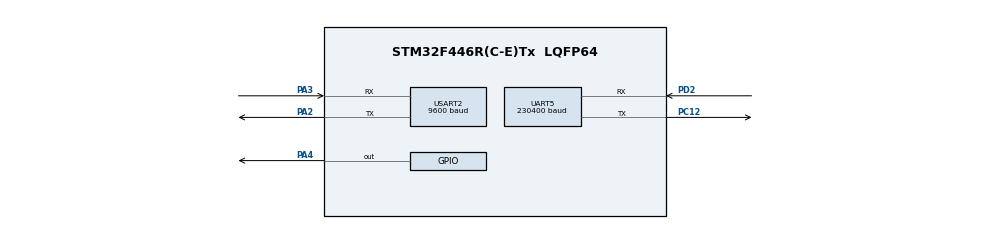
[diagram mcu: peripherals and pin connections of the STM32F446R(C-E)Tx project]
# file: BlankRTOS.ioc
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Dma.Request0=UART5_TX
Dma.Request1=UART5_RX
Dma.UART5_RX.1.Direction=DMA_PERIPH_TO_MEMORY
Dma.UART5_RX.1.FIFOMode=DMA_FIFOMODE_DISABLE
Dma.UART5_RX.1.Instance=DMA1_Stream0
Dma.UART5_RX.1.MemDataAlignment=DMA_MDATAALIGN_BYTE
Dma.UART5_RX.1.MemInc=DMA_MINC_ENABLE
Dma.UART5_RX.1.Mode=DMA_NORMAL
Dma.UART5_RX.1.PeriphDataAlignment=DMA_PDATAALIGN_BYTE
Dma.UART5_RX.1.PeriphInc=DMA_PINC_DISABLE
Dma.UART5_RX.1.Priority=DMA_PRIORITY_LOW
Dma.UART5_TX.0.Direction=DMA_MEMORY_TO_PERIPH
Dma.UART5_TX.0.FIFOMode=DMA_FIFOMODE_DISABLE
Dma.UART5_TX.0.Instance=DMA1_Stream7
Dma.UART5_TX.0.MemDataAlignment=DMA_MDATAALIGN_BYTE
Dma.UART5_TX.0.MemInc=DMA_MINC_ENABLE
Dma.UART5_TX.0.Mode=DMA_NORMAL
Dma.UART5_TX.0.PeriphDataAlignment=DMA_PDATAALIGN_BYTE
Dma.UART5_TX.0.PeriphInc=DMA_PINC_DISABLE
Dma.UART5_TX.0.Priority=DMA_PRIORITY_LOW
FREERTOS.MEMORY_ALLOCATION=2
FREERTOS.Tasks01=defaultTask,0,128,StartDefaultTask,Default,NULL,Static,defaultTaskBuffer,defaultTaskControlBlock;rx,3,128,StartRx,Default,NULL,Static,rxBuffer,rxControlBlock;tx,2,128,StartTx,Default,NULL,Static,txBuffer,txControlBlock
Mcu.Family=STM32F4
Mcu.Name=STM32F446R(C-E)Tx
Mcu.Package=LQFP64
NVIC.DMA1_Stream0_IRQn=true\:5\:0\:false\:false\:true\:true\:false
NVIC.DMA1_Stream7_IRQn=true\:5\:0\:false\:false\:true\:true\:false
NVIC.PriorityGroup=NVIC_PRIORITYGROUP_4
NVIC.TIM1_UP_TIM10_IRQn=true\:0\:0\:false\:false\:true\:false\:false
NVIC.TimeBase=TIM1_UP_TIM10_IRQn
NVIC.TimeBaseIP=TIM1
NVIC.UART5_IRQn=true\:5\:0\:false\:false\:true\:true\:true
NVIC.USART2_IRQn=true\:5\:0\:false\:false\:true\:true\:true
PA2.Mode=Asynchronous
PA2.Signal=USART2_TX
PA3.Mode=Asynchronous
PA3.Signal=USART2_RX
PA4.Signal=GPIO_Output
PC12.Mode=Asynchronous
PC12.Signal=UART5_TX
PD2.Mode=Asynchronous
PD2.Signal=UART5_RX
ProjectManager.HeapSize=0x200
ProjectManager.StackSize=0x400
ProjectManager.TargetToolchain=SW4STM32
RCC.CortexFreq_Value=16000000
RCC.USBFreq_Value=96000000
RCC.VCOOutputFreq_Value=192000000
UART5.BaudRate=230400
UART5.VirtualMode=Asynchronous
USART2.BaudRate=9600
USART2.VirtualMode=VM_ASYNC
VP_FREERTOS_VS_ENABLE.Mode=Enabled
VP_SYS_VS_tim1.Mode=TIM1
board=BlankRTOS

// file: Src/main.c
/**
  ******************************************************************************
  * @file           : main.c
  * @brief          : Main program body
  ******************************************************************************
  * This notice applies to any and all portions of this file
  * that are not between comment pairs USER CODE BEGIN and
  * USER CODE END. Other portions of this file, whether
  * inserted by the user or by software development tools
  * are owned by their respective copyright owners.
  *
  * Copyright (c) 2018 STMicroelectronics International N.V.
  * All rights reserved.
  *
  * Redistribution and use in source and binary forms, with or without
  * modification, are permitted, provided that the following conditions are met:
  *
  * 1. Redistribution of source code must retain the above copyright notice,
  *    this list of conditions and the following disclaimer.
  * 2. Redistributions in binary form must reproduce the above copyright notice,
  *    this list of conditions and the following disclaimer in the documentation
  *    and/or other materials provided with the distribution.
  * 3. Neither the name of STMicroelectronics nor the names of other
  *    contributors to this software may be used to endorse or promote products
  *    derived from this software without specific written permission.
  * 4. This software, including modifications and/or derivative works of this
  *    software, must execute solely and exclusively on microcontroller or
  *    microprocessor devices manufactured by or for STMicroelectronics.
  * 5. Redistribution and use of this software other than as permitted under
  *    this license is void and will automatically terminate your rights under
  *    this license.
  *
  * THIS SOFTWARE IS PROVIDED BY STMICROELECTRONICS AND CONTRIBUTORS "AS IS"
  * AND ANY EXPRESS, IMPLIED OR STATUTORY WARRANTIES, INCLUDING, BUT NOT
  * LIMITED TO, THE IMPLIED WARRANTIES OF MERCHANTABILITY, FITNESS FOR A
  * PARTICULAR PURPOSE AND NON-INFRINGEMENT OF THIRD PARTY INTELLECTUAL PROPERTY
  * RIGHTS ARE DISCLAIMED TO THE FULLEST EXTENT PERMITTED BY LAW. IN NO EVENT
  * SHALL STMICROELECTRONICS OR CONTRIBUTORS BE LIABLE FOR ANY DIRECT, INDIRECT,
  * INCIDENTAL, SPECIAL, EXEMPLARY, OR CONSEQUENTIAL DAMAGES (INCLUDING, BUT NOT
  * LIMITED TO, PROCUREMENT OF SUBSTITUTE GOODS OR SERVICES; LOSS OF USE, DATA,
  * OR PROFITS; OR BUSINESS INTERRUPTION) HOWEVER CAUSED AND ON ANY THEORY OF
  * LIABILITY, WHETHER IN CONTRACT, STRICT LIABILITY, OR TORT (INCLUDING
  * NEGLIGENCE OR OTHERWISE) ARISING IN ANY WAY OUT OF THE USE OF THIS SOFTWARE,
  * EVEN IF ADVISED OF THE POSSIBILITY OF SUCH DAMAGE.
  *
  ******************************************************************************
  */
#include "main.h"
#include "stm32f4xx_hal.h"
#include "cmsis_os.h"
#include "dma.h"
#include "usart.h"
#include "gpio.h"

/* USER CODE BEGIN PV */
/* Private variables ---------------------------------------------------------*/

/* USER CODE END PV */

void SystemClock_Config(void);
void MX_FREERTOS_Init(void);

/* USER CODE BEGIN PFP */
/* Private function prototypes -----------------------------------------------*/

/* USER CODE END PFP */

int main(void)
{

  /* MCU Configuration----------------------------------------------------------*/

  /* Reset of all peripherals, Initializes the Flash interface and the Systick. */
  HAL_Init();

  /* Configure the system clock */
  SystemClock_Config();

  /* Initialize all configured peripherals */
  MX_GPIO_Init();
  MX_DMA_Init();
  MX_UART5_Init();
  MX_USART2_UART_Init();

  /* Call init function for freertos objects (in freertos.c) */
  MX_FREERTOS_Init();

  /* Start scheduler */
  osKernelStart();

  /* We should never get here as control is now taken by the scheduler */

  /* Infinite loop */
	while (1) {

	}

}

void SystemClock_Config(void)
{

  RCC_OscInitTypeDef RCC_OscInitStruct;
  RCC_ClkInitTypeDef RCC_ClkInitStruct;

    /**Configure the main internal regulator output voltage
    */
  __HAL_RCC_PWR_CLK_ENABLE();

  __HAL_PWR_VOLTAGESCALING_CONFIG(PWR_REGULATOR_VOLTAGE_SCALE3);

    /**Initializes the CPU, AHB and APB busses clocks
    */
  RCC_OscInitStruct.OscillatorType = RCC_OSCILLATORTYPE_HSI;
  RCC_OscInitStruct.HSIState = RCC_HSI_ON;
  RCC_OscInitStruct.HSICalibrationValue = 16;
  RCC_OscInitStruct.PLL.PLLState = RCC_PLL_NONE;
  if (HAL_RCC_OscConfig(&RCC_OscInitStruct) != HAL_OK)
  {
    _Error_Handler(__FILE__, __LINE__);
  }

    /**Initializes the CPU, AHB and APB busses clocks
    */
  RCC_ClkInitStruct.ClockType = RCC_CLOCKTYPE_HCLK|RCC_CLOCKTYPE_SYSCLK
                              |RCC_CLOCKTYPE_PCLK1|RCC_CLOCKTYPE_PCLK2;
  RCC_ClkInitStruct.SYSCLKSource = RCC_SYSCLKSOURCE_HSI;
  RCC_ClkInitStruct.AHBCLKDivider = RCC_SYSCLK_DIV1;
  RCC_ClkInitStruct.APB1CLKDivider = RCC_HCLK_DIV1;
  RCC_ClkInitStruct.APB2CLKDivider = RCC_HCLK_DIV1;

  if (HAL_RCC_ClockConfig(&RCC_ClkInitStruct, FLASH_LATENCY_0) != HAL_OK)
  {
    _Error_Handler(__FILE__, __LINE__);
  }

    /**Configure the Systick interrupt time
    */
  HAL_SYSTICK_Config(HAL_RCC_GetHCLKFreq()/1000);

    /**Configure the Systick
    */
  HAL_SYSTICK_CLKSourceConfig(SYSTICK_CLKSOURCE_HCLK);

  /* SysTick_IRQn interrupt configuration */
  HAL_NVIC_SetPriority(SysTick_IRQn, 15, 0);
}

void HAL_TIM_PeriodElapsedCallback(TIM_HandleTypeDef *htim)
{
  if (htim->Instance == TIM1) {
    HAL_IncTick();
  }
}

void _Error_Handler(char *file, int line)
{
	while (1) {
	}
}

/************************ (C) COPYRIGHT STMicroelectronics *****END OF FILE****/

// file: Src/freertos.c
/**
  ******************************************************************************
  * File Name          : freertos.c
  * Description        : Code for freertos applications
  ******************************************************************************
  * This notice applies to any and all portions of this file
  * that are not between comment pairs USER CODE BEGIN and
  * USER CODE END. Other portions of this file, whether
  * inserted by the user or by software development tools
  * are owned by their respective copyright owners.
  *
  * Copyright (c) 2018 STMicroelectronics International N.V.
  * All rights reserved.
  *
  * Redistribution and use in source and binary forms, with or without
  * modification, are permitted, provided that the following conditions are met:
  *
  * 1. Redistribution of source code must retain the above copyright notice,
  *    this list of conditions and the following disclaimer.
  * 2. Redistributions in binary form must reproduce the above copyright notice,
  *    this list of conditions and the following disclaimer in the documentation
  *    and/or other materials provided with the distribution.
  * 3. Neither the name of STMicroelectronics nor the names of other
  *    contributors to this software may be used to endorse or promote products
  *    derived from this software without specific written permission.
  * 4. This software, including modifications and/or derivative works of this
  *    software, must execute solely and exclusively on microcontroller or
  *    microprocessor devices manufactured by or for STMicroelectronics.
  * 5. Redistribution and use of this software other than as permitted under
  *    this license is void and will automatically terminate your rights under
  *    this license.
  *
  * THIS SOFTWARE IS PROVIDED BY STMICROELECTRONICS AND CONTRIBUTORS "AS IS"
  * AND ANY EXPRESS, IMPLIED OR STATUTORY WARRANTIES, INCLUDING, BUT NOT
  * LIMITED TO, THE IMPLIED WARRANTIES OF MERCHANTABILITY, FITNESS FOR A
  * PARTICULAR PURPOSE AND NON-INFRINGEMENT OF THIRD PARTY INTELLECTUAL PROPERTY
  * RIGHTS ARE DISCLAIMED TO THE FULLEST EXTENT PERMITTED BY LAW. IN NO EVENT
  * SHALL STMICROELECTRONICS OR CONTRIBUTORS BE LIABLE FOR ANY DIRECT, INDIRECT,
  * INCIDENTAL, SPECIAL, EXEMPLARY, OR CONSEQUENTIAL DAMAGES (INCLUDING, BUT NOT
  * LIMITED TO, PROCUREMENT OF SUBSTITUTE GOODS OR SERVICES; LOSS OF USE, DATA,
  * OR PROFITS; OR BUSINESS INTERRUPTION) HOWEVER CAUSED AND ON ANY THEORY OF
  * LIABILITY, WHETHER IN CONTRACT, STRICT LIABILITY, OR TORT (INCLUDING
  * NEGLIGENCE OR OTHERWISE) ARISING IN ANY WAY OUT OF THE USE OF THIS SOFTWARE,
  * EVEN IF ADVISED OF THE POSSIBILITY OF SUCH DAMAGE.
  *
  ******************************************************************************
  */

#include "FreeRTOS.h"
#include "task.h"
#include "cmsis_os.h"

/* USER CODE BEGIN Includes */
#include <robotGoal.h>
#include <robotState.h>
#include <stdint.h>
#include "serial.h"
#include "string.h"
/* USER CODE END Includes */

osThreadId defaultTaskHandle;
uint32_t defaultTaskBuffer[ 128 ];
osStaticThreadDef_t defaultTaskControlBlock;
osThreadId rxHandle;
uint32_t rxBuffer[ 128 ];
osStaticThreadDef_t rxControlBlock;
osThreadId txHandle;
uint32_t txBuffer[ 128 ];
osStaticThreadDef_t txControlBlock;

/* USER CODE BEGIN Variables */
volatile RobotGoal robotGoal, *robotGoalPtr;
volatile unsigned char robotGoalData[sizeof(RobotGoal)];
volatile unsigned char *robotGoalDataPtr;

volatile unsigned startSeqCount;
volatile unsigned totalBytesRead;

volatile RobotState robotState, *robotStatePtr;

#define __DYNAMIXEL_TRANSMIT(port, pinNum) HAL_GPIO_WritePin(port, pinNum, 1) // Set data direction pin high (TX)
#define __DYNAMIXEL_RECEIVE(port, pinNum) HAL_GPIO_WritePin(port, pinNum, 0) // Set data direction pin low (RX)

volatile uint8_t buffRx[92];
/* USER CODE END Variables */

void StartDefaultTask(void const * argument);
void StartRx(void const * argument);
void StartTx(void const * argument);

void MX_FREERTOS_Init(void); /* (MISRA C 2004 rule 8.1) */

/* GetIdleTaskMemory prototype (linked to static allocation support) */
void vApplicationGetIdleTaskMemory( StaticTask_t **ppxIdleTaskTCBBuffer, StackType_t **ppxIdleTaskStackBuffer, uint32_t *pulIdleTaskStackSize );

/* Hook prototypes */

/* USER CODE BEGIN GET_IDLE_TASK_MEMORY */
static StaticTask_t xIdleTaskTCBBuffer;
static StackType_t xIdleStack[configMINIMAL_STACK_SIZE];

void vApplicationGetIdleTaskMemory( StaticTask_t **ppxIdleTaskTCBBuffer, StackType_t **ppxIdleTaskStackBuffer, uint32_t *pulIdleTaskStackSize )
{
  *ppxIdleTaskTCBBuffer = &xIdleTaskTCBBuffer;
  *ppxIdleTaskStackBuffer = &xIdleStack[0];
  *pulIdleTaskStackSize = configMINIMAL_STACK_SIZE;
  /* place for user code */
}
/* USER CODE END GET_IDLE_TASK_MEMORY */

/* Init FreeRTOS */

void MX_FREERTOS_Init(void) {
  /* USER CODE BEGIN Init */
  	__DYNAMIXEL_RECEIVE(GPIOA, GPIO_PIN_4);

	// Receiving
	robotGoal.id = 0;
	robotGoalPtr = &robotGoal;
	robotGoalDataPtr = robotGoalData;
	startSeqCount = 0;
	totalBytesRead = 0;

	// Sending
	robotState.id = 0;
	robotStatePtr = &robotState;
	robotState.start_seq = UINT32_MAX;
	robotState.end_seq = 0;
  /* USER CODE END Init */

  /* Create the thread(s) */
  /* definition and creation of defaultTask */
  osThreadStaticDef(defaultTask, StartDefaultTask, osPriorityNormal, 0, 128, defaultTaskBuffer, &defaultTaskControlBlock);
  defaultTaskHandle = osThreadCreate(osThread(defaultTask), NULL);

  /* definition and creation of rx */
  osThreadStaticDef(rx, StartRx, osPriorityRealtime, 0, 128, rxBuffer, &rxControlBlock);
  rxHandle = osThreadCreate(osThread(rx), NULL);

  /* definition and creation of tx */
  osThreadStaticDef(tx, StartTx, osPriorityHigh, 0, 128, txBuffer, &txControlBlock);
  txHandle = osThreadCreate(osThread(tx), NULL);

}

/* StartDefaultTask function */
void StartDefaultTask(void const * argument)
{

  /* USER CODE BEGIN StartDefaultTask */

	uint32_t notification;
  /* Infinite loop */
  for(;;)
  {
	  // This simulates waiting on new trajectories to be received
      do{
          xTaskNotifyWait(0, 0x40, &notification, portMAX_DELAY);
      }while((notification & 0x40) != 0x40);

      // This simulates acquiring new present positions
	  for(uint8_t i = 0; i < 80; i++){
		  robotState.msg[i] = robotGoal.msg[i];
	  }

	  // This simulates telling the TX task there is data to send
	  xTaskNotify(txHandle, 0x40, eSetBits);
  }
  /* USER CODE END StartDefaultTask */
}

/* StartRx function */
void StartRx(void const * argument)
{
  /* USER CODE BEGIN StartRx */
	uint32_t notification;

	HAL_UART_Receive_DMA(&huart5, buffRx, sizeof(buffRx));
  /* Infinite loop */
  for(;;)
  {
		do{
			xTaskNotifyWait(0, 0x80, &notification, portMAX_DELAY);
		}while((notification & 0x80) != 0x80);

		HAL_UART_Receive_DMA(&huart5, buffRx, sizeof(buffRx));

		for (uint8_t i = 0; i < sizeof(buffRx); i++) {
			if (startSeqCount == 4) {
				*robotGoalDataPtr = buffRx[i];
				robotGoalDataPtr++;
				totalBytesRead++;

				if (totalBytesRead == sizeof(RobotGoal)) {

					// Process RobotGoal here
					memcpy(&robotGoal, robotGoalData, sizeof(RobotGoal));

					robotGoalDataPtr = robotGoalData;
					startSeqCount = 0;
					totalBytesRead = 0;

					xTaskNotify(defaultTaskHandle, 0x40, eSetBits);
					continue;
				}
			} else {
				if (buffRx[i] == 255)
					startSeqCount++;
				else
					startSeqCount = 0;
			}
		}
  }
  /* USER CODE END StartRx */
}

/* StartTx function */
void StartTx(void const * argument)
{
  /* USER CODE BEGIN StartTx */

	uint32_t notification;
  /* Infinite loop */
  for(;;)
  {
	do{
		xTaskNotifyWait(0, 0x40, &notification, portMAX_DELAY);
	}while((notification & 0x40) != 0x40);

	HAL_UART_Transmit_DMA(&huart5, (uint8_t*)&robotState, sizeof(RobotState));

	do{
		xTaskNotifyWait(0, 0x80, &notification, portMAX_DELAY);
	}while((notification & 0x80) != 0x80);
  }
  /* USER CODE END StartTx */
}

/* USER CODE BEGIN Application */
void HAL_UART_RxCpltCallback(UART_HandleTypeDef * huart) {
	BaseType_t xHigherPriorityTaskWoken = pdFALSE;
	if (huart == &huart5) {
		xTaskNotifyFromISR(rxHandle, 0x80, eSetBits, &xHigherPriorityTaskWoken);

		portYIELD_FROM_ISR( xHigherPriorityTaskWoken );
	}
}

void HAL_UART_TxCpltCallback(UART_HandleTypeDef * huart){
	if (huart == &huart5) {
		BaseType_t xHigherPriorityTaskWoken = pdFALSE;
		xTaskNotifyFromISR(txHandle, 0x80, eSetBits, &xHigherPriorityTaskWoken);

		portYIELD_FROM_ISR( xHigherPriorityTaskWoken );
	}
}
/* USER CODE END Application */

/************************ (C) COPYRIGHT STMicroelectronics *****END OF FILE****/
